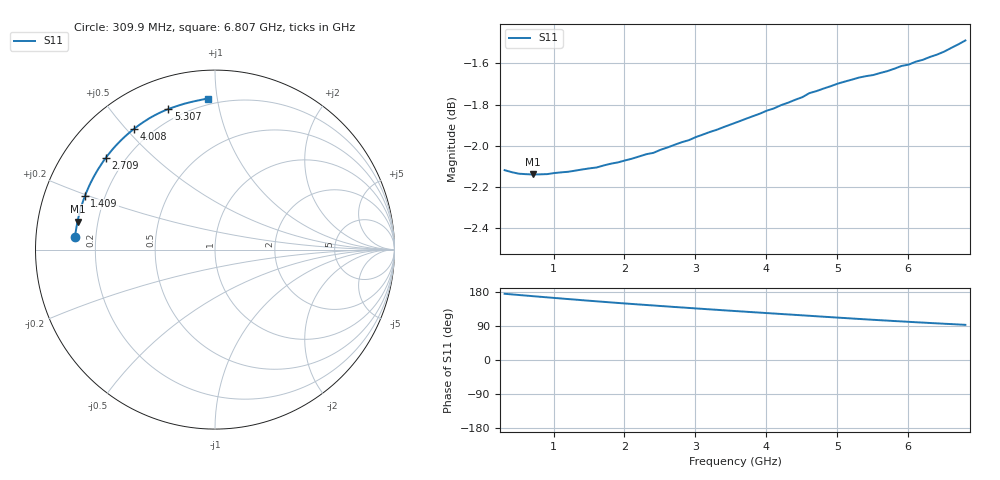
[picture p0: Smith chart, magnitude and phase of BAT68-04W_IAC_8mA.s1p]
! Infineon Technologies  Discrete & RF Semiconductors
! BAT68-04W
! IAC = 8 mA
! One-Port S-Parameters
# Hz  S  MA  R  50
!f  S11
!Hz  Mag  Ang
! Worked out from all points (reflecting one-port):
!   66 points, 309.9 MHz to 6.807 GHz, reference 50 ohm
!   lowest |S11| = -2.1 dB at 709.6 MHz (marker M1), VSWR 8.16, Z = 6.19 + j4.98 ohm
!   phase of S11 starts at 175 deg and turns -82 deg over the sweep
!   S11 on the Smith chart (normalised r, x): 309.9 MHz: 0.12, +0.05; 1.409 GHz: 0.13, +0.19; 2.709 GHz: 0.13, +0.36; 4.008 GHz: 0.13, +0.53; 5.307 GHz: 0.14, +0.71; 6.807 GHz: 0.16, +0.94
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3.0985e8  0.7835 174.7
7.0965e8  0.7816 168.4
1.0095e9  0.7823 163.8
1.2094e9  0.7828 160.7
1.4093e9  0.7839 157.8
1.70915e9  0.7856 153.4
2.009e9  0.7878 149.2
2.30885e9  0.7906 145.2
2.50875e9  0.7925 142.5
2.6087e9  0.7935 141.3
2.70865e9  0.7947 139.9
2.8086e9  0.7959 138.7
3.2084e9  0.8005 133.6
3.4083e9  0.8028 131.1
3.6082e9  0.8051 128.6
4.008e9  0.8101 123.8
4.10795e9  0.8111 122.6
4.2079e9  0.8126 121.4
4.4078e9  0.815 119.1
4.6077e9  0.818 116.7
4.8076e9  0.8201 114.2
5.0075e9  0.8224 111.9
5.2074e9  0.8243 109.5
5.30735e9  0.8252 108.4
5.6072e9  0.8273 105.0
6.007e9  0.8312 100.7
6.30685e9  0.8348 97.7
6.8066e9  0.8425 92.8
